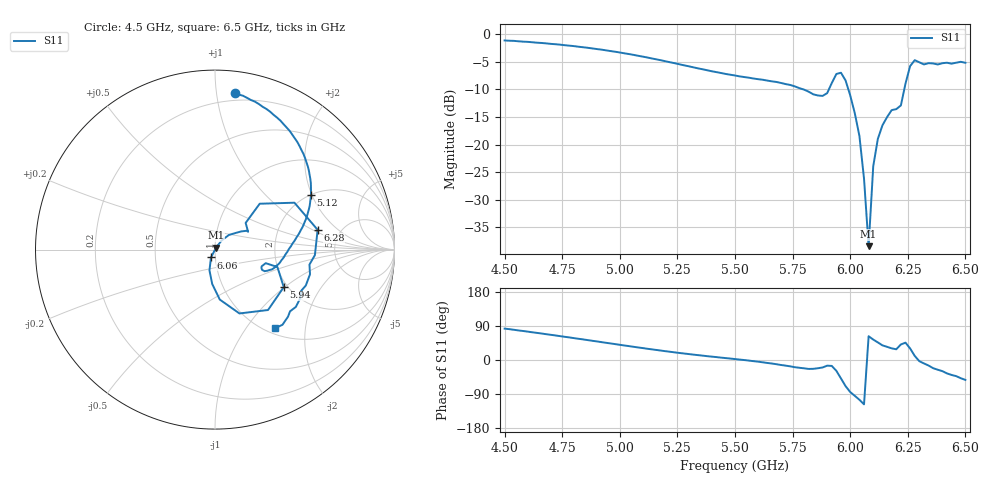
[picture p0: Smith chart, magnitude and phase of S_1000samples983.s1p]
! TOUCHSTONE file generated by CST MICROWAVE STUDIO
! Date and time: Sun Oct 30 00:07:44 2022
! Project name: L.cst
! Parameters = {Di=1.27; Epsilon_r=1.56; InnerDiameter=1.27; Length=2; Lf=10; Lg=60; OuterConductorThickness=0.2921; OuterDiameter=3.6; Wf=3; Wp=41.2; de=1.5; df=6.8; g=0.8; gx=0.74369; gy=3.636; h=2.34; hf=1.524; px=10.1218; py=14.6884; w=9.7; wx=9.37815; wy=11.0524}
! Header version: 2018
! Port assignment regex: !\s*Touchstone port\s*([0-9]+)\s*=\s*(CST MWS port|CST DS port)\s*([0-9]+|Zmin|Zmax)\s*\(\"(.*)\"\)(\s*mode\s*([0-9]+))?.*
! Touchstone port assignment:
! Touchstone port 1 = CST MWS port 1 ("")
# GHz S DB R 50
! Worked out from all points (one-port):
!   101 points, 4.5 GHz to 6.5 GHz, reference 50 ohm
!   lowest |S11| = -38.4 dB at 6.08 GHz (marker M1), VSWR 1.02, Z = 50.5 + j1.08 ohm
!   |S11| at or under -10 dB: 5.797 GHz to 5.907 GHz (110.3 MHz wide, 1.89 % of centre); 5.992 GHz to 6.235 GHz (242.6 MHz wide, 3.97 % of centre)
!   S11 on the Smith chart (normalised r, x): 4.5 GHz: 0.15, +1.12; 5.12 GHz: 2.01, +1.97; 5.94 GHz: 1.91, -0.99; 6.06 GHz: 0.95, -0.08; 6.28 GHz: 3.38, +1.13; 6.5 GHz: 1.10, -1.38
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4.5  -1.12 82.8
4.76  -1.98 61.3
5  -3.30 40.1
5.12  -4.21 29.7
5.26  -5.45 18.5
5.5  -7.47 2.4
5.76  -9.46 -19.0
5.88  -11.18 -19.7
5.9  -10.68 -15.0
5.92  -8.85 -15.6
5.94  -7.20 -28.6
5.96  -6.98 -48.7
5.98  -8.38 -69.1
6  -11.07 -84.5
6.04  -18.43 -105.0
6.06  -26.19 -117.0
6.08  -38.43 62.8
6.1  -23.94 53.9
6.12  -18.97 46.4
6.14  -16.51 38.6
6.18  -13.75 30.7
6.22  -12.90 41.0
6.24  -8.95 45.7
6.26  -5.78 30.5
6.28  -4.70 10.9
6.3  -5.08 -3.2
6.36  -5.29 -21.6
6.5  -5.17 -52.6
